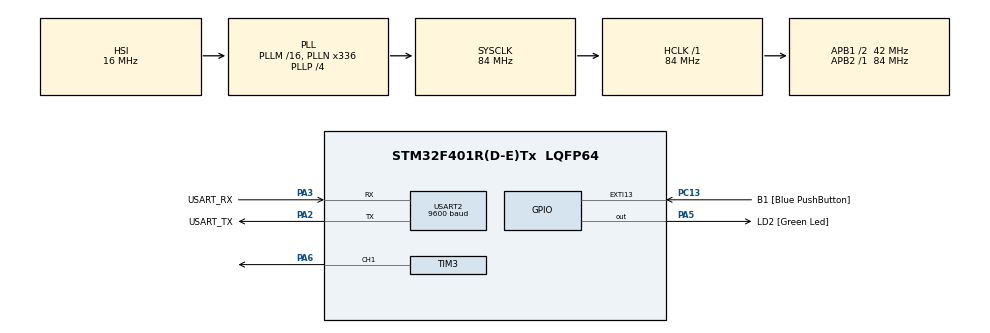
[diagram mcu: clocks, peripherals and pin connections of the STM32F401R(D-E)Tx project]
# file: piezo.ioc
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Mcu.Family=STM32F4
Mcu.Name=STM32F401R(D-E)Tx
Mcu.Package=LQFP64
NVIC.PriorityGroup=NVIC_PRIORITYGROUP_0
NVIC.USART2_IRQn=true\:0\:0\:false\:false\:true\:true\:true\:true
PA13.GPIO_Label=TMS
PA13.Mode=Serial_Wire
PA13.Signal=SYS_JTMS-SWDIO
PA14.GPIO_Label=TCK
PA14.Mode=Serial_Wire
PA14.Signal=SYS_JTCK-SWCLK
PA2.GPIO_Label=USART_TX
PA2.GPIO_Mode=GPIO_MODE_AF_PP
PA2.GPIO_PuPd=GPIO_NOPULL
PA2.GPIO_Speed=GPIO_SPEED_FREQ_LOW
PA2.Mode=Asynchronous
PA2.Signal=USART2_TX
PA3.GPIO_Label=USART_RX
PA3.GPIO_Mode=GPIO_MODE_AF_PP
PA3.GPIO_PuPd=GPIO_NOPULL
PA3.GPIO_Speed=GPIO_SPEED_FREQ_LOW
PA3.Mode=Asynchronous
PA3.Signal=USART2_RX
PA5.GPIO_Label=LD2 [Green Led]
PA5.GPIO_Mode=GPIO_MODE_OUTPUT_PP
PA5.GPIO_PuPd=GPIO_NOPULL
PA5.GPIO_Speed=GPIO_SPEED_FREQ_LOW
PA5.Signal=GPIO_Output
PA6.Signal=S_TIM3_CH1
PB3.GPIO_Label=SWO
PB3.Signal=SYS_JTDO-SWO
PC13-ANTI_TAMP.GPIO_Label=B1 [Blue PushButton]
PC13-ANTI_TAMP.GPIO_ModeDefaultEXTI=GPIO_MODE_IT_FALLING
PC13-ANTI_TAMP.GPIO_PuPd=GPIO_NOPULL
PC13-ANTI_TAMP.Signal=GPXTI13
PC14-OSC32_IN.Mode=LSE-External-Oscillator
PC14-OSC32_IN.Signal=RCC_OSC32_IN
PC15-OSC32_OUT.Mode=LSE-External-Oscillator
PC15-OSC32_OUT.Signal=RCC_OSC32_OUT
PH0\ -\ OSC_IN.Mode=HSE-External-Clock-Source
PH0\ -\ OSC_IN.Signal=RCC_OSC_IN
PH1\ -\ OSC_OUT.Mode=HSE-External-Clock-Source
PH1\ -\ OSC_OUT.Signal=RCC_OSC_OUT
ProjectManager.HeapSize=0x200
ProjectManager.StackSize=0x400
ProjectManager.TargetToolchain=STM32CubeIDE
RCC.48MHZClocksFreq_Value=48000000
RCC.AHBFreq_Value=84000000
RCC.APB1CLKDivider=RCC_HCLK_DIV2
RCC.APB1Freq_Value=42000000
RCC.APB1TimFreq_Value=84000000
RCC.APB2Freq_Value=84000000
RCC.APB2TimFreq_Value=84000000
RCC.CortexFreq_Value=84000000
RCC.HCLKFreq_Value=84000000
RCC.HSE_VALUE=8000000
RCC.HSI_VALUE=16000000
RCC.PLLN=336
RCC.PLLP=RCC_PLLP_DIV4
RCC.PLLQ=7
RCC.SYSCLKFreq_VALUE=84000000
RCC.SYSCLKSource=RCC_SYSCLKSOURCE_PLLCLK
RCC.VCOOutputFreq_Value=336000000
SH.S_TIM3_CH1.0=TIM3_CH1,PWM Generation1 CH1
TIM3.Channel-PWM\ Generation1\ CH1=TIM_CHANNEL_1
TIM3.Period=999
TIM3.Prescaler=71
USART2.BaudRate=9600
USART2.Mode=MODE_TX_RX
USART2.VirtualMode=VM_ASYNC
board=NUCLEO-F401RE

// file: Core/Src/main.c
/* USER CODE BEGIN Header */
/**
  ******************************************************************************
  * @file           : main.c
  * @brief          : Main program body
  ******************************************************************************
  * @attention
  *
  * Copyright (c) 2024 STMicroelectronics.
  * All rights reserved.
  *
  * This software is licensed under terms that can be found in the LICENSE file
  * in the root directory of this software component.
  * If no LICENSE file comes with this software, it is provided AS-IS.
  *
  ******************************************************************************
  */
/* USER CODE END Header */
#include "main.h"
#include "stdio.h"

TIM_HandleTypeDef htim3;

UART_HandleTypeDef huart2;

void SystemClock_Config(void);
static void MX_GPIO_Init(void);
static void MX_USART2_UART_Init(void);
static void MX_TIM3_Init(void);

/* USER CODE BEGIN 0 */
uint8_t rx_buffer[50]; // Buffer to store received data
int received_number;   // The received integer

// Function to be called when an integer is received
void play_tone(uint16_t frequency, uint32_t duration_ms) {
    // Compute timer settings for the desired frequency
    uint32_t timer_clock = HAL_RCC_GetPCLK1Freq(); // Timer clock frequency
    uint32_t prescaler = (timer_clock / 1000000) - 1; // Set base clock to 1 MHz
    uint32_t period = 1000000 / frequency - 1; // Set period for desired frequency

    // Configure the timer
    TIM3->PSC = prescaler;  // Prescaler
    TIM3->ARR = period;     // Auto-reload register
    TIM3->CCR1 = period / 2; // 50% duty cycle

    // Start PWM
    HAL_TIM_PWM_Start(&htim3, TIM_CHANNEL_1);

    // Delay for the duration of the tone
    HAL_Delay(duration_ms);

    // Stop PWM
    HAL_TIM_PWM_Stop(&htim3, TIM_CHANNEL_1);
}

void HAL_UART_RxCpltCallback(UART_HandleTypeDef *huart) {
    if (huart->Instance == USART2) { // Check if it's USART2
        // Convert received string to integer
        sscanf((char *)rx_buffer, "%d", &received_number);

        // Call your function with the received integer
        play_tone(1000, 10000);
        HAL_Delay(1000);

        // Restart UART reception in interrupt mode
        HAL_UART_Receive_IT(&huart2, rx_buffer, sizeof(rx_buffer));
    }
}
/* USER CODE END 0 */

int main(void)
{

  /* MCU Configuration--------------------------------------------------------*/

  /* Reset of all peripherals, Initializes the Flash interface and the Systick. */
  HAL_Init();

  /* Configure the system clock */
  SystemClock_Config();

  /* Initialize all configured peripherals */
  MX_GPIO_Init();
  MX_USART2_UART_Init();
  MX_TIM3_Init();
  /* USER CODE BEGIN 2 */
  // Start UART reception in interrupt mode
  HAL_UART_Receive_IT(&huart2, rx_buffer, sizeof(rx_buffer));
  /* USER CODE END 2 */

  /* Infinite loop */
  while (1)
  {

  }
}

void SystemClock_Config(void)
{
  RCC_OscInitTypeDef RCC_OscInitStruct = {0};
  RCC_ClkInitTypeDef RCC_ClkInitStruct = {0};

  /** Configure the main internal regulator output voltage
  */
  __HAL_RCC_PWR_CLK_ENABLE();
  __HAL_PWR_VOLTAGESCALING_CONFIG(PWR_REGULATOR_VOLTAGE_SCALE2);

  /** Initializes the RCC Oscillators according to the specified parameters
  * in the RCC_OscInitTypeDef structure.
  */
  RCC_OscInitStruct.OscillatorType = RCC_OSCILLATORTYPE_HSI;
  RCC_OscInitStruct.HSIState = RCC_HSI_ON;
  RCC_OscInitStruct.HSICalibrationValue = RCC_HSICALIBRATION_DEFAULT;
  RCC_OscInitStruct.PLL.PLLState = RCC_PLL_ON;
  RCC_OscInitStruct.PLL.PLLSource = RCC_PLLSOURCE_HSI;
  RCC_OscInitStruct.PLL.PLLM = 16;
  RCC_OscInitStruct.PLL.PLLN = 336;
  RCC_OscInitStruct.PLL.PLLP = RCC_PLLP_DIV4;
  RCC_OscInitStruct.PLL.PLLQ = 7;
  if (HAL_RCC_OscConfig(&RCC_OscInitStruct) != HAL_OK)
  {
    Error_Handler();
  }

  /** Initializes the CPU, AHB and APB buses clocks
  */
  RCC_ClkInitStruct.ClockType = RCC_CLOCKTYPE_HCLK|RCC_CLOCKTYPE_SYSCLK
                              |RCC_CLOCKTYPE_PCLK1|RCC_CLOCKTYPE_PCLK2;
  RCC_ClkInitStruct.SYSCLKSource = RCC_SYSCLKSOURCE_PLLCLK;
  RCC_ClkInitStruct.AHBCLKDivider = RCC_SYSCLK_DIV1;
  RCC_ClkInitStruct.APB1CLKDivider = RCC_HCLK_DIV2;
  RCC_ClkInitStruct.APB2CLKDivider = RCC_HCLK_DIV1;

  if (HAL_RCC_ClockConfig(&RCC_ClkInitStruct, FLASH_LATENCY_2) != HAL_OK)
  {
    Error_Handler();
  }
}

static void MX_TIM3_Init(void)
{

  TIM_MasterConfigTypeDef sMasterConfig = {0};
  TIM_OC_InitTypeDef sConfigOC = {0};

  htim3.Instance = TIM3;
  htim3.Init.Prescaler = 71;
  htim3.Init.CounterMode = TIM_COUNTERMODE_UP;
  htim3.Init.Period = 999;
  htim3.Init.ClockDivision = TIM_CLOCKDIVISION_DIV1;
  htim3.Init.AutoReloadPreload = TIM_AUTORELOAD_PRELOAD_DISABLE;
  if (HAL_TIM_PWM_Init(&htim3) != HAL_OK)
  {
    Error_Handler();
  }
  sMasterConfig.MasterOutputTrigger = TIM_TRGO_RESET;
  sMasterConfig.MasterSlaveMode = TIM_MASTERSLAVEMODE_DISABLE;
  if (HAL_TIMEx_MasterConfigSynchronization(&htim3, &sMasterConfig) != HAL_OK)
  {
    Error_Handler();
  }
  sConfigOC.OCMode = TIM_OCMODE_PWM1;
  sConfigOC.Pulse = 0;
  sConfigOC.OCPolarity = TIM_OCPOLARITY_HIGH;
  sConfigOC.OCFastMode = TIM_OCFAST_DISABLE;
  if (HAL_TIM_PWM_ConfigChannel(&htim3, &sConfigOC, TIM_CHANNEL_1) != HAL_OK)
  {
    Error_Handler();
  }
  HAL_TIM_MspPostInit(&htim3);

}

static void MX_USART2_UART_Init(void)
{

  huart2.Instance = USART2;
  huart2.Init.BaudRate = 9600;
  huart2.Init.WordLength = UART_WORDLENGTH_8B;
  huart2.Init.StopBits = UART_STOPBITS_1;
  huart2.Init.Parity = UART_PARITY_NONE;
  huart2.Init.Mode = UART_MODE_TX_RX;
  huart2.Init.HwFlowCtl = UART_HWCONTROL_NONE;
  huart2.Init.OverSampling = UART_OVERSAMPLING_16;
  if (HAL_UART_Init(&huart2) != HAL_OK)
  {
    Error_Handler();
  }

}

static void MX_GPIO_Init(void)
{
  GPIO_InitTypeDef GPIO_InitStruct = {0};

  /* GPIO Ports Clock Enable */
  __HAL_RCC_GPIOC_CLK_ENABLE();
  __HAL_RCC_GPIOH_CLK_ENABLE();
  __HAL_RCC_GPIOA_CLK_ENABLE();
  __HAL_RCC_GPIOB_CLK_ENABLE();

  /*Configure GPIO pin Output Level */
  HAL_GPIO_WritePin(LD2_GPIO_Port, LD2_Pin, GPIO_PIN_RESET);

  /*Configure GPIO pin : B1_Pin */
  GPIO_InitStruct.Pin = B1_Pin;
  GPIO_InitStruct.Mode = GPIO_MODE_IT_FALLING;
  GPIO_InitStruct.Pull = GPIO_NOPULL;
  HAL_GPIO_Init(B1_GPIO_Port, &GPIO_InitStruct);

  /*Configure GPIO pin : LD2_Pin */
  GPIO_InitStruct.Pin = LD2_Pin;
  GPIO_InitStruct.Mode = GPIO_MODE_OUTPUT_PP;
  GPIO_InitStruct.Pull = GPIO_NOPULL;
  GPIO_InitStruct.Speed = GPIO_SPEED_FREQ_LOW;
  HAL_GPIO_Init(LD2_GPIO_Port, &GPIO_InitStruct);

}

void Error_Handler(void)
{
  __disable_irq();
  while (1)
  {
  }
}
